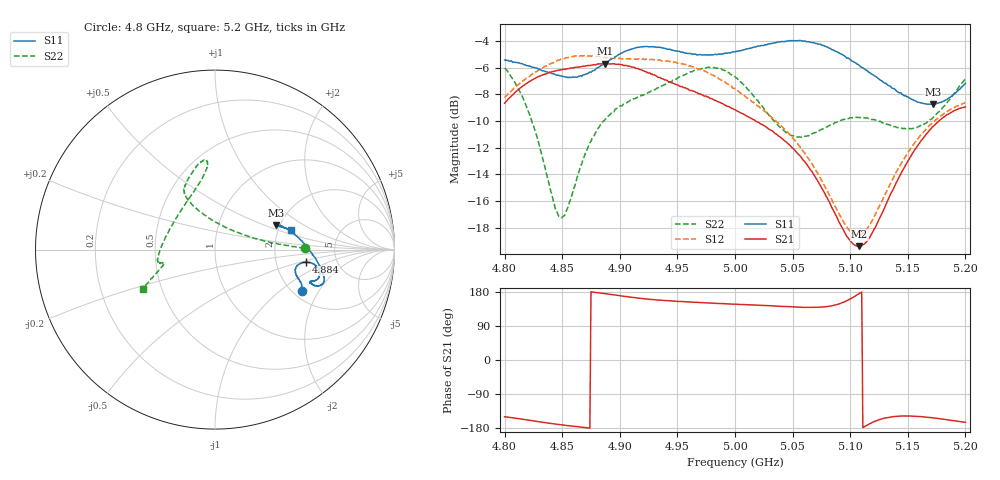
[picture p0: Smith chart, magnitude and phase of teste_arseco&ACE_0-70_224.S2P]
! Network Analyzer HP8722D
! Hewlett-Packard
! Data name: Linha & Wilkinson
! Saver's name: Rodrigo Anjos
! Comments: Teste da utilização de aquisição
! continua pelo VNA HP8722D
! Time and date: 8/5/2025 14:37
!  Frequency  S11  S21  S12  S22
# HZ  S  MA R 50
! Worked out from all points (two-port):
!   401 points, 4.8 GHz to 5.2 GHz, reference 50 ohm
!   highest |S21| = -5.69 dB at 4.887 GHz (marker M1); lowest = -19.4 dB at 5.108 GHz (marker M2)
!   |S21| within 3 dB of the highest: start of sweep to 4.989 GHz
!   lowest |S11| = -8.7 dB at 5.172 GHz (marker M3), VSWR 2.15, Z = 94.9 + j30.1 ohm
!   |S11| at or under -10 dB: nowhere
!   |S22| runs from -17.3 to -6.0 dB; largest |S21 - S12| = 1.1
!   S11 on the Smith chart (normalised r, x): 4.8 GHz: 2.24, -1.43; 4.884 GHz: 2.97, -0.56; 5.2 GHz: 2.35, +0.64
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4.8e9  0.5351 -25.2  0.3685 -149.9  0.3866 9.4  0.4988 0.8
4.811e9  0.5231 -22.6  0.4113 -154.4  0.4301 7.6  0.4249 2.7
4.821e9  0.5081 -20.7  0.4431 -158.9  0.4626 6.2  0.3398 6.0
4.847e9  0.4691 -16.2  0.4908 -170.2  0.5348 2.3  0.139 54.6
4.853e9  0.4622 -14.8  0.4937 -172.5  0.5453 1.4  0.1429 79.3
4.867e9  0.4656 -10.8  0.5055 -177.5  0.5533 -0.8  0.2186 110.3
4.884e9  0.5114 -7.9  0.5188 176.3  0.5482 -2.0  0.3087 118.5
4.887e9  0.5199 -7.7  0.5191 175.2  0.5493 -2.0  0.3194 118.7
4.911e9  0.5896 -10.9  0.5036 165.2  0.5395 -1.4  0.3798 116.7
4.934e9  0.5966 -15.8  0.4601 158.0  0.5372 -2.4  0.4222 110.5
4.976e9  0.5597 -18.9  0.3886 150.8  0.4808 -6.0  0.5012 97.3
5e9  0.5741 -19.6  0.3485 147.1  0.4183 -6.2  0.4635 95.7
5.018e9  0.599 -19.7  0.3156 145.0  0.3643 -3.3  0.3836 103.0
5.044e9  0.6289 -17.8  0.265 141.0  0.2914 2.2  0.287 131.6
5.067e9  0.6221 -13.5  0.2039 138.8  0.2181 9.1  0.2835 164.8
5.096e9  0.5501 -3.7  0.1192 154.9  0.1287 35.7  0.3221 -171.7
5.108e9  0.5094 1.9  0.1074 175.9  0.1182 59.0  0.326 -168.3
5.118e9  0.476 6.9  0.1181 -166.8  0.1315 77.8  0.3209 -167.1
5.134e9  0.4284 14.6  0.164 -151.0  0.181 94.7  0.3062 -166.5
5.154e9  0.3808 21.0  0.2391 -148.1  0.2554 100.7  0.2962 -164.4
5.172e9  0.3654 22.1  0.3017 -152.7  0.3132 101.5  0.3262 -160.2
5.2e9  0.4379 14.7  0.357 -164.5  0.3709 101.8  0.4552 -151.5
